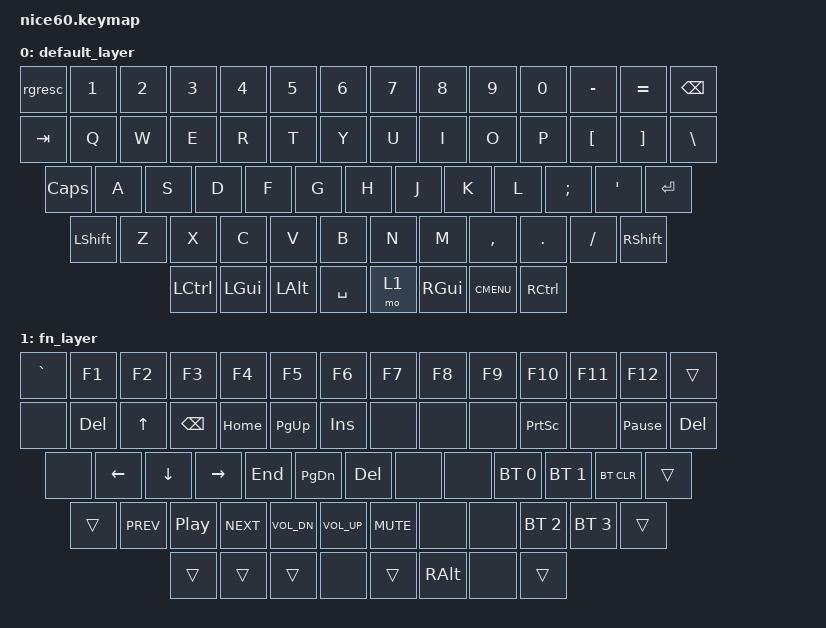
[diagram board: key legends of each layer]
/*
 * Copyright (c) 2021 Nick Winans
 *
 * SPDX-License-Identifier: MIT
 */

#include <behaviors.dtsi>
#include <dt-bindings/zmk/keys.h>
#include <dt-bindings/zmk/rgb.h>
#include <dt-bindings/zmk/bt.h>
#include <dt-bindings/zmk/outputs.h>
#include <dt-bindings/zmk/reset.h>
#include <dt-bindings/zmk/ext_power.h>

/ {
	behaviors {
		// Like gresc, but only for RIGHT shift and super. Makes Ctrl+Shift+Esc possible.
		rgresc: right_grave_escape {
			compatible = "zmk,behavior-mod-morph";
			label = "RIGHT_GRAVE_ESCAPE";
			#binding-cells = <0>;
			bindings = <&kp ESC>, <&kp GRAVE>;
			mods = <(MOD_RGUI|MOD_RSFT)>;
			keep-mods = <(MOD_RSFT)>;
		};
	};
	keymap {
		compatible = "zmk,keymap";
		
		default_layer {
// ------------------------------------------------------------------------------------------
// | ESC |  1  |  2  |  3  |  4  |  5  |  6  |  7  |  8  |  9  |  0  |  -  |  =  |   BKSP   |
// | TAB  |  Q  |  W  |  E  |  R  |  T  |  Y  |  U  |  I  |  O  |  P  |  [  |  ]  |   "|"   |
// | CAPS  |  A  |  S  |  D  |  F  |  G  |  H  |  J  |  K  |  L  |  ;  |  '  |     ENTER    |
// |  SHIFT  |  Z  |  X  |  C  |  V  |  B  |  N  |  M  |  ,  |  .  |  /  |      SHIFT       |
// |  CTL  |  WIN  |  ALT  |            SPACE              |  ALT  |  WIN  |  MO(1) |  CTL  |
// ------------------------------------------------------------------------------------------
			bindings = <
	&rgresc  &kp N1 &kp N2 &kp N3 &kp N4 &kp N5 &kp N6 &kp N7 &kp N8 &kp N9 &kp N0 &kp MINUS &kp EQUAL  &kp BSPC
	&kp TAB  &kp Q  &kp W  &kp E  &kp R  &kp T  &kp Y  &kp U  &kp I  &kp O  &kp P  &kp LBKT  &kp RBKT  &kp BSLH
	&kp CLCK  &kp A  &kp S  &kp D  &kp F  &kp G  &kp H  &kp J  &kp K  &kp L  &kp SEMI &kp SQT           &kp RET
	&kp LSHFT   &kp Z  &kp X  &kp C  &kp V  &kp B  &kp N  &kp M  &kp COMMA &kp DOT &kp FSLH           &kp RSHFT
	&kp LCTRL &kp LGUI &kp LALT             &kp SPACE                     &mo 1  &kp RGUI  &kp K_CMENU   &kp RCTRL
			>;
		};
		
		fn_layer {
// ------------------------------------------------------------------------------------------------
// | BT CLR | F1  | F2  | F3  | F4  | F5  | F6  | F7  | F8  | F9  | F10  | F11 | F12 | EFFECT REV |
// |  BT 1   |   |  UP |   | HUEUP | SATUP | BRIUP | SPDUP |   |     |    |     |     |           |
// |   BT 2   | LT |  DN  | RT | HUEDN | SATDN | BRIDN | SPDDN |   |     |   |     |  EFFECT FORW |
// |    BT 3     |     |      |      |     |     |     |     |     |     |     |                  |
// |   BT 4  |      |      |             TOG RGB                | PRT SCR |       |       |  DEL  |
// ------------------------------------------------------------------------------------------------
			bindings = <
	&kp GRAVE   &kp F1    &kp F2    &kp F3  &kp F4           &kp F5          &kp F6          &kp F7          &kp F8   &kp F9   &kp F10  &kp F11 &kp F12  &trans
	&none  &kp DEL    &kp UP    &kp BSPC  &kp HOME  &kp PG_UP &kp INS &none  &none   &none   &kp PSCRN   &none  &kp PAUSE_BREAK          &kp DEL 
	&none  &kp LEFT  &kp DOWN  &kp RIGHT &kp END &kp PG_DN &kp DEL &none &none   &bt BT_SEL 0   &bt BT_SEL 1   &bt BT_CLR        &trans
	&trans    &kp C_PREV    &kp C_PLAY_PAUSE    &kp C_NEXT   &kp C_VOL_DN          &kp C_VOL_UP          &kp C_MUTE          &none  &none   &bt BT_SEL 2   &bt BT_SEL 3  &trans
	&trans   &trans   &trans                            &none                                      &trans      &kp RALT      &none               &trans
			>;
		};

/*
		rgb_layer {
// ------------------------------------------------------------------------------------------------
// | BT CLR | F1  | F2  | F3  | F4  | F5  | F6  | F7  | F8  | F9  | F10  | F11 | F12 | EFFECT REV |
// |  BT 1   |   |  UP |   | HUEUP | SATUP | BRIUP | SPDUP |   |     |    |     |     |           |
// |   BT 2   | LT |  DN  | RT | HUEDN | SATDN | BRIDN | SPDDN |   |     |   |     |  EFFECT FORW |
// |    BT 3     |     |      |      |     |     |     |     |     |     |     |                  |
// |   BT 4  |      |      |             TOG RGB                | PRT SCR |       |       |  DEL  |
// ------------------------------------------------------------------------------------------------
			bindings = <
	&bt BT_CLR   &kp F1    &kp F2    &kp F3  &kp F4           &kp F5          &kp F6          &kp F7          &kp F8   &kp F9   &kp F10  &kp F11 &kp F12  &rgb_ug RGB_EFR
	&bt BT_SEL 0  &trans    &kp UP    &trans  &rgb_ug RGB_HUI  &rgb_ug RGB_SAI &rgb_ug RGB_BRI &rgb_ug RGB_SPI  &trans   &trans   &trans   &trans  &trans          &trans 
	&bt BT_SEL 1   &kp LEFT  &kp DOWN  &kp RIGHT &rgb_ug RGB_HUD &rgb_ug RGB_SAD &rgb_ug RGB_BRD &rgb_ug RGB_SPD &trans   &trans   &trans   &trans        &rgb_ug RGB_EFF
	&bt BT_SEL 2    &trans    &trans    &trans   &trans          &trans          &trans          &trans          &trans   &trans   &trans                          &trans
	&bt BT_SEL 3  &trans   &trans                            &rgb_ug RGB_TOG                                      &kp PSCRN      &trans      &trans               &kp DEL
			>;
		};
*/
	};
};
